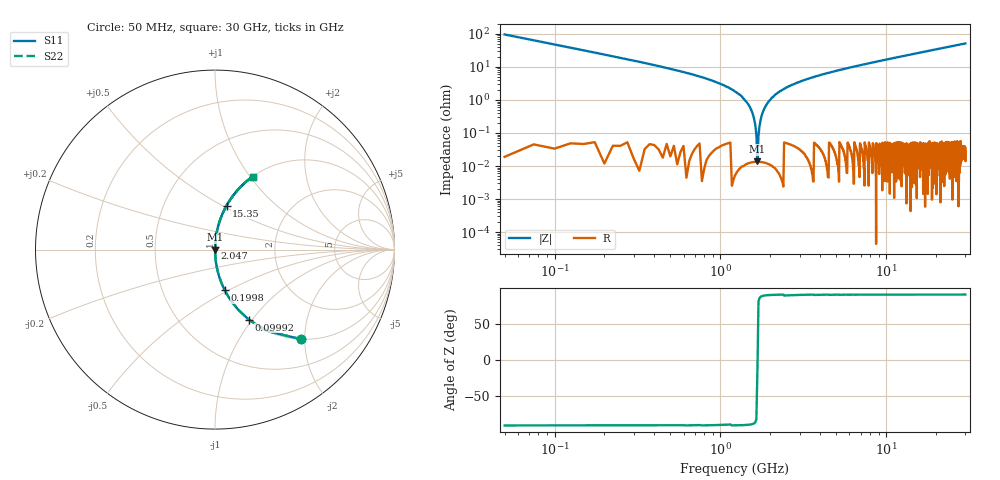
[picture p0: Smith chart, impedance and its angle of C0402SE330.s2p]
!	AVX Thin Film Operation 	Date: April 2014
!	Description: Accu-P® Series, Thin Film  SMD RF Capacitor
!	Part Number: 04023K330FBSTR
# MHZ S MA R 50
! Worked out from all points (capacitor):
!   1201 points, 50 MHz to 30 GHz, reference 50 ohm
!   read as one part in series: C = 33 pF near 199.8 MHz
!   lowest |Z| = 13.9 mohm at 1.672 GHz (marker M1)
!   series resonance near 1.673 GHz, so ESL is about 270 pH
!   S11 on the Smith chart (normalised r, x): 50 MHz: 1.00, -1.93; 99.92 MHz: 1.00, -0.96; 199.8 MHz: 1.00, -0.48; 2.047 GHz: 1.00, +0.02; 15.35 GHz: 1.00, +0.52; 30 GHz: 1.00, +1.03
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50  0.694 -46.0  0.72 43.9  0.72 43.9  0.694 -46.0
99.917  0.433 -64.3  0.901 25.7  0.901 25.7  0.433 -64.3
199.75  0.231 -76.6  0.973 13.4  0.973 13.4  0.231 -76.6
324.542  0.142 -81.8  0.99 8.1  0.99 8.1  0.142 -81.8
474.292  0.093 -84.5  0.995 5.3  0.995 5.3  0.093 -84.5
1272.958  0.016 -88.1  1 0.9  1 0.9  0.016 -88.1
1447.667  0.008379 -87.7  1 0.5  1 0.5  0.008379 -87.7
1572.458  0.003592 -85.5  1 0.2  1 0.2  0.003592 -85.5
1672.292  0.0002719 -6.9  1 0.0  1 0.0  0.0002719 -6.9
1772.125  0.003322 85.1  1 -0.2  1 -0.2  0.003322 85.1
1896.917  0.007255 87.5  1 -0.4  1 -0.4  0.007255 87.5
2046.667  0.012 88.0  1 -0.7  1 -0.7  0.012 88.0
2421.042  0.022 88.0  0.999 -1.2  0.999 -1.2  0.022 88.0
2995.083  0.035 87.5  0.999 -2.0  0.999 -2.0  0.035 87.5
3893.583  0.055 86.6  0.998 -3.1  0.998 -3.1  0.055 86.6
5041.667  0.077 85.4  0.997 -4.4  0.997 -4.4  0.077 85.4
10058.29  0.166 80.3  0.986 -9.6  0.986 -9.6  0.166 80.3
15025  0.248 75.6  0.969 -14.3  0.969 -14.3  0.248 75.6
15349.46  0.253 75.3  0.967 -14.6  0.967 -14.6  0.253 75.3
20016.67  0.324 71.1  0.946 -18.9  0.946 -18.9  0.324 71.1
25033.29  0.394 66.7  0.919 -23.2  0.919 -23.2  0.394 66.7
30000  0.458 62.7  0.889 -27.2  0.889 -27.2  0.458 62.7
